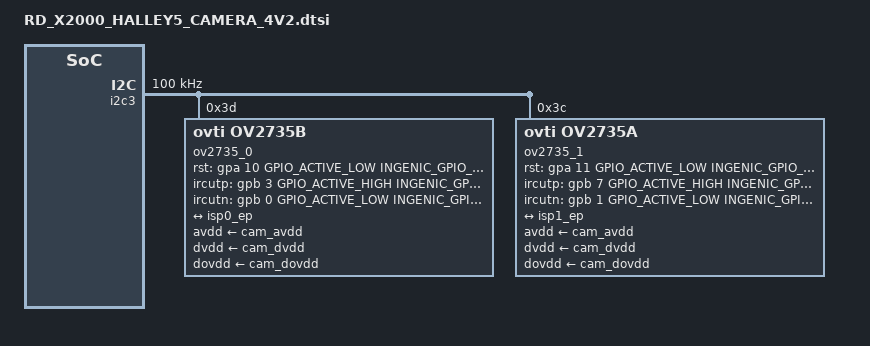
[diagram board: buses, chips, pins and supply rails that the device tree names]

&i2c3 {
	status = "okay";
	clock-frequency = <100000>;
	timeout = <1000>;
	pinctrl-names = "default", "default";
	pinctrl-0 = <&i2c3_pa>,<&cim_vic_mclk_pe>;

	/*RD_X2000_HALLEY5_CAMERA_V4.2 DVP interface*/
	ov2735_0:ov2735@0x3d {
		status = "ok";
		compatible = "ovti,ov2735b";
		reg = <0x3d>;
		pinctrl-names = "default";
		pinctrl-0 = <&vic_pa_low_10bit>;

		avdd-supply = <&cam_avdd>;
		dvdd-supply = <&cam_dvdd>;
		dovdd-supply = <&cam_dovdd>;
		ingenic,rst-gpio = <&gpa 10 GPIO_ACTIVE_LOW INGENIC_GPIO_NOBIAS>;
		ingenic,ircutp-gpio = <&gpb 3 GPIO_ACTIVE_HIGH INGENIC_GPIO_NOBIAS>;
		ingenic,ircutn-gpio = <&gpb 0 GPIO_ACTIVE_LOW INGENIC_GPIO_NOBIAS>;

		port {
			ov2735_ep0:endpoint {
				remote-endpoint = <&isp0_ep>;
				bus-width = <10>;	/* Used data lines */
				data-shift = <0>;	/* Lines 9:0 are used */

				/* If hsync-active/vsync-active are missing,
				   embedded BT.656 sync is used */
				hsync-active = <1>;	/* Active high */
				vsync-active = <1>;	/* Active high */
				data-active = <1>;	/* Active high */
				pclk-sample = <1>;	/* Rising */
			};
		};
	};


	/*RD_X2000_HALLEY5_CAMERA_V4.2 MIPI interface*/
	ov2735_1:ov2735@0x3c {
		status = "ok";
		compatible = "ovti,ov2735a";
		reg = <0x3c>;

		avdd-supply = <&cam_avdd>;
		dvdd-supply = <&cam_dvdd>;
		dovdd-supply = <&cam_dovdd>;
		ingenic,rst-gpio = <&gpa 11 GPIO_ACTIVE_LOW INGENIC_GPIO_NOBIAS>;
		ingenic,ircutp-gpio = <&gpb 7 GPIO_ACTIVE_HIGH INGENIC_GPIO_NOBIAS>;
		ingenic,ircutn-gpio = <&gpb 1 GPIO_ACTIVE_LOW INGENIC_GPIO_NOBIAS>;

		port {
			ov2735_ep1:endpoint {
				remote-endpoint = <&isp1_ep>;
			};
		};
	};
};



&isp0_ep {
	remote-endpoint = <&ov2735_ep0>;
	bus-width = <10>;	/* Used data lines */
	data-shift = <0>;	/* Lines 9:0 are used */
	bus-type = <5>;

	/* If hsync-active/vsync-active are missing,
	   embedded BT.656 sync is used */
	hsync-active = <1>;	/* Active high */
	vsync-active = <1>;	/* Active high */
	data-active = <1>;	/* Active high */
	pclk-sample = <1>;	/* Rising */
};

&isp1_ep {
	remote-endpoint = <&ov2735_ep1>;
	data-lanes = <3 4>;
	clk-lanes = <5>;
	bus-type = <4>;
};
